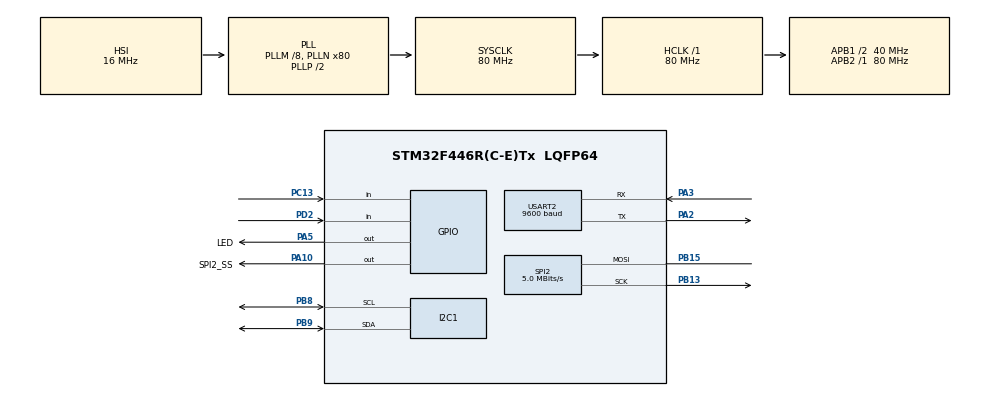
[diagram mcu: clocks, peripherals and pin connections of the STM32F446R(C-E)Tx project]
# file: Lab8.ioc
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Dma.I2C1_RX.1.Direction=DMA_PERIPH_TO_MEMORY
Dma.I2C1_RX.1.FIFOMode=DMA_FIFOMODE_DISABLE
Dma.I2C1_RX.1.Instance=DMA1_Stream0
Dma.I2C1_RX.1.MemDataAlignment=DMA_MDATAALIGN_BYTE
Dma.I2C1_RX.1.MemInc=DMA_MINC_ENABLE
Dma.I2C1_RX.1.Mode=DMA_NORMAL
Dma.I2C1_RX.1.PeriphDataAlignment=DMA_PDATAALIGN_BYTE
Dma.I2C1_RX.1.PeriphInc=DMA_PINC_DISABLE
Dma.I2C1_RX.1.Priority=DMA_PRIORITY_LOW
Dma.I2C1_TX.2.Direction=DMA_MEMORY_TO_PERIPH
Dma.I2C1_TX.2.FIFOMode=DMA_FIFOMODE_DISABLE
Dma.I2C1_TX.2.Instance=DMA1_Stream6
Dma.I2C1_TX.2.MemDataAlignment=DMA_MDATAALIGN_BYTE
Dma.I2C1_TX.2.MemInc=DMA_MINC_ENABLE
Dma.I2C1_TX.2.Mode=DMA_NORMAL
Dma.I2C1_TX.2.PeriphDataAlignment=DMA_PDATAALIGN_BYTE
Dma.I2C1_TX.2.PeriphInc=DMA_PINC_DISABLE
Dma.I2C1_TX.2.Priority=DMA_PRIORITY_LOW
Dma.Request0=SPI2_TX
Dma.Request1=I2C1_RX
Dma.Request2=I2C1_TX
Dma.SPI2_TX.0.Direction=DMA_MEMORY_TO_PERIPH
Dma.SPI2_TX.0.FIFOMode=DMA_FIFOMODE_DISABLE
Dma.SPI2_TX.0.Instance=DMA1_Stream4
Dma.SPI2_TX.0.MemDataAlignment=DMA_MDATAALIGN_BYTE
Dma.SPI2_TX.0.MemInc=DMA_MINC_ENABLE
Dma.SPI2_TX.0.Mode=DMA_NORMAL
Dma.SPI2_TX.0.PeriphDataAlignment=DMA_PDATAALIGN_BYTE
Dma.SPI2_TX.0.PeriphInc=DMA_PINC_DISABLE
Dma.SPI2_TX.0.Priority=DMA_PRIORITY_LOW
Mcu.Family=STM32F4
Mcu.Name=STM32F446R(C-E)Tx
Mcu.Package=LQFP64
NVIC.DMA1_Stream0_IRQn=true\:0\:0\:false\:false\:true\:false\:true\:true
NVIC.DMA1_Stream4_IRQn=true\:0\:0\:false\:false\:true\:false\:true\:true
NVIC.DMA1_Stream6_IRQn=true\:0\:0\:false\:false\:true\:false\:true\:true
NVIC.I2C1_EV_IRQn=true\:0\:0\:false\:false\:true\:true\:true\:true
NVIC.PriorityGroup=NVIC_PRIORITYGROUP_4
NVIC.SPI2_IRQn=true\:0\:0\:false\:false\:true\:true\:true\:true
NVIC.TIM1_UP_TIM10_IRQn=true\:0\:0\:false\:false\:true\:true\:true\:true
NVIC.USART2_IRQn=true\:0\:0\:false\:false\:true\:true\:true\:true
PA10.GPIO_Label=SPI2_SS
PA10.Signal=GPIO_Output
PA2.Mode=Asynchronous
PA2.Signal=USART2_TX
PA3.Mode=Asynchronous
PA3.Signal=USART2_RX
PA5.GPIO_Label=LED
PA5.Signal=GPIO_Output
PB13.Mode=Simplex_Bidirectional_Master
PB13.Signal=SPI2_SCK
PB15.Mode=Simplex_Bidirectional_Master
PB15.Signal=SPI2_MOSI
PB8.Mode=I2C
PB8.Signal=I2C1_SCL
PB9.Mode=I2C
PB9.Signal=I2C1_SDA
PC13.Signal=GPIO_Input
PD2.Signal=GPIO_Input
ProjectManager.HeapSize=0x200
ProjectManager.StackSize=0x400
ProjectManager.TargetToolchain=STM32CubeIDE
RCC.AHBFreq_Value=80000000
RCC.APB1CLKDivider=RCC_HCLK_DIV2
RCC.APB1Freq_Value=40000000
RCC.APB1TimFreq_Value=80000000
RCC.APB2Freq_Value=80000000
RCC.APB2TimFreq_Value=80000000
RCC.CortexFreq_Value=80000000
RCC.HCLKFreq_Value=80000000
RCC.PLLM=8
RCC.PLLN=80
RCC.SYSCLKFreq_VALUE=80000000
RCC.SYSCLKSource=RCC_SYSCLKSOURCE_PLLCLK
RCC.USBFreq_Value=80000000
RCC.VCOOutputFreq_Value=160000000
SPI2.BaudRatePrescaler=SPI_BAUDRATEPRESCALER_8
SPI2.CalculateBaudRate=5.0 MBits/s
SPI2.Direction=SPI_DIRECTION_1LINE
SPI2.FirstBit=SPI_FIRSTBIT_MSB
SPI2.Mode=SPI_MODE_MASTER
SPI2.VirtualType=VM_MASTER
TIM10.Period=999
TIM10.Prescaler=79
USART2.BaudRate=9600
USART2.VirtualMode=VM_ASYNC
VP_TIM10_VS_ClockSourceINT.Mode=Enable_Timer
board=custom

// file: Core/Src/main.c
/* USER CODE BEGIN Header */
/* USER CODE END Header */
#include "main.h"

/* USER CODE BEGIN PM */
#define NUM_INDICATORS 8

// 7 seg display digits
//                GFEDCBA
#define DIGIT_N 0b0000000 // 0
#define DIGIT_0 0b0111111 // 63
#define DIGIT_1 0b0000110 // 6
#define DIGIT_2 0b1011011 // 91
#define DIGIT_3 0b1001111 // 79
#define DIGIT_4 0b1100110 // 102
#define DIGIT_5 0b1101101 // 109
#define DIGIT_6 0b1111101 // 125
#define DIGIT_7 0b0000111 // 7
#define DIGIT_8 0b1111111 // 127
#define DIGIT_9 0b1101111 // 111
#define DOT 0b10000000 // 128

#define DS3231_ADDR 0x68
enum DS3231_REG{
  SECONDS = 0x00,
  MINUTES = 0x01,
  HOURS = 0x02,
  DAY = 0x03,
  DATE = 0x04,
  MONTH = 0x05,
  YEAR = 0x06,
};

struct time_t {
  uint8_t seconds;
  uint8_t minutes;
  uint8_t hours;
  uint8_t day;
  uint8_t date;
  uint8_t month;
  uint8_t year;
};

struct time_t get_time;
struct time_t decoded_time;

struct time_t set_time;

uint8_t digits[] = {DIGIT_0, DIGIT_1, DIGIT_2, DIGIT_3, DIGIT_4, DIGIT_5, DIGIT_6, DIGIT_7, DIGIT_8, DIGIT_9};

/* USER CODE END PM */

I2C_HandleTypeDef hi2c1;
DMA_HandleTypeDef hdma_i2c1_rx;
DMA_HandleTypeDef hdma_i2c1_tx;

SPI_HandleTypeDef hspi2;
DMA_HandleTypeDef hdma_spi2_tx;

TIM_HandleTypeDef htim10;

UART_HandleTypeDef huart2;

/* USER CODE BEGIN PV */
uint32_t timer;

// uint32_t display_number = 0;
uint8_t display_buffer[NUM_INDICATORS] = {0};
uint8_t current_digit = 0;

uint8_t send_buffer[2] = {0};

char read_buffer[NUM_INDICATORS + 3];
uint8_t read_index = 0;
uint8_t display_flag = 0;
/* USER CODE END PV */

void SystemClock_Config(void);
static void MX_GPIO_Init(void);
static void MX_DMA_Init(void);
static void MX_SPI2_Init(void);
static void MX_TIM10_Init(void);
static void MX_USART2_UART_Init(void);
static void MX_I2C1_Init(void);

int main(void)
{

  /* MCU Configuration--------------------------------------------------------*/

  /* Reset of all peripherals, Initializes the Flash interface and the Systick. */
  HAL_Init();

  /* Configure the system clock */
  SystemClock_Config();

  /* Initialize all configured peripherals */
  MX_GPIO_Init();
  MX_DMA_Init();
  MX_SPI2_Init();
  MX_TIM10_Init();
  MX_USART2_UART_Init();
  MX_I2C1_Init();
  /* USER CODE BEGIN 2 */
  HAL_TIM_Base_Start_IT(&htim10);

  HAL_UART_Receive_IT(&huart2, (uint8_t *)&read_buffer[read_index++], 1);

  /* USER CODE END 2 */

  /* Infinite loop */
  /* USER CODE BEGIN WHILE */
  while(1) {
    // char buffer[100];
    // sprintf(buffer, "date: %02d.%02d.%02d, time: %02d:%02d:%02d\n", decoded_time.date, decoded_time.month, decoded_time.year, decoded_time.hours, decoded_time.minutes, decoded_time.seconds);
    // HAL_UART_Transmit_IT(&huart2, (uint8_t *)buffer, strlen(buffer));

    // HAL_Delay(1000);

    if(HAL_GPIO_ReadPin(GPIOC, GPIO_PIN_13) == GPIO_PIN_RESET){
      display_flag = 0;
    }
    if (HAL_GPIO_ReadPin(GPIOD, GPIO_PIN_2) == GPIO_PIN_RESET){
      display_flag = 1;
    }
    /* USER CODE END WHILE */

}
}

void SystemClock_Config(void)
{
  RCC_OscInitTypeDef RCC_OscInitStruct = {0};
  RCC_ClkInitTypeDef RCC_ClkInitStruct = {0};

  /** Configure the main internal regulator output voltage
  */
  __HAL_RCC_PWR_CLK_ENABLE();
  __HAL_PWR_VOLTAGESCALING_CONFIG(PWR_REGULATOR_VOLTAGE_SCALE3);

  /** Initializes the RCC Oscillators according to the specified parameters
  * in the RCC_OscInitTypeDef structure.
  */
  RCC_OscInitStruct.OscillatorType = RCC_OSCILLATORTYPE_HSI;
  RCC_OscInitStruct.HSIState = RCC_HSI_ON;
  RCC_OscInitStruct.HSICalibrationValue = RCC_HSICALIBRATION_DEFAULT;
  RCC_OscInitStruct.PLL.PLLState = RCC_PLL_ON;
  RCC_OscInitStruct.PLL.PLLSource = RCC_PLLSOURCE_HSI;
  RCC_OscInitStruct.PLL.PLLM = 8;
  RCC_OscInitStruct.PLL.PLLN = 80;
  RCC_OscInitStruct.PLL.PLLP = RCC_PLLP_DIV2;
  RCC_OscInitStruct.PLL.PLLQ = 2;
  RCC_OscInitStruct.PLL.PLLR = 2;
  if (HAL_RCC_OscConfig(&RCC_OscInitStruct) != HAL_OK)
  {
    Error_Handler();
  }

  /** Initializes the CPU, AHB and APB buses clocks
  */
  RCC_ClkInitStruct.ClockType = RCC_CLOCKTYPE_HCLK|RCC_CLOCKTYPE_SYSCLK
                              |RCC_CLOCKTYPE_PCLK1|RCC_CLOCKTYPE_PCLK2;
  RCC_ClkInitStruct.SYSCLKSource = RCC_SYSCLKSOURCE_PLLCLK;
  RCC_ClkInitStruct.AHBCLKDivider = RCC_SYSCLK_DIV1;
  RCC_ClkInitStruct.APB1CLKDivider = RCC_HCLK_DIV2;
  RCC_ClkInitStruct.APB2CLKDivider = RCC_HCLK_DIV1;

  if (HAL_RCC_ClockConfig(&RCC_ClkInitStruct, FLASH_LATENCY_2) != HAL_OK)
  {
    Error_Handler();
  }
}

static void MX_I2C1_Init(void)
{

  hi2c1.Instance = I2C1;
  hi2c1.Init.ClockSpeed = 100000;
  hi2c1.Init.DutyCycle = I2C_DUTYCYCLE_2;
  hi2c1.Init.OwnAddress1 = 0;
  hi2c1.Init.AddressingMode = I2C_ADDRESSINGMODE_7BIT;
  hi2c1.Init.DualAddressMode = I2C_DUALADDRESS_DISABLE;
  hi2c1.Init.OwnAddress2 = 0;
  hi2c1.Init.GeneralCallMode = I2C_GENERALCALL_DISABLE;
  hi2c1.Init.NoStretchMode = I2C_NOSTRETCH_DISABLE;
  if (HAL_I2C_Init(&hi2c1) != HAL_OK)
  {
    Error_Handler();
  }

}

static void MX_SPI2_Init(void)
{

  /* SPI2 parameter configuration*/
  hspi2.Instance = SPI2;
  hspi2.Init.Mode = SPI_MODE_MASTER;
  hspi2.Init.Direction = SPI_DIRECTION_1LINE;
  hspi2.Init.DataSize = SPI_DATASIZE_8BIT;
  hspi2.Init.CLKPolarity = SPI_POLARITY_LOW;
  hspi2.Init.CLKPhase = SPI_PHASE_1EDGE;
  hspi2.Init.NSS = SPI_NSS_SOFT;
  hspi2.Init.BaudRatePrescaler = SPI_BAUDRATEPRESCALER_8;
  hspi2.Init.FirstBit = SPI_FIRSTBIT_MSB;
  hspi2.Init.TIMode = SPI_TIMODE_DISABLE;
  hspi2.Init.CRCCalculation = SPI_CRCCALCULATION_DISABLE;
  hspi2.Init.CRCPolynomial = 10;
  if (HAL_SPI_Init(&hspi2) != HAL_OK)
  {
    Error_Handler();
  }

}

static void MX_TIM10_Init(void)
{

  htim10.Instance = TIM10;
  htim10.Init.Prescaler = 79;
  htim10.Init.CounterMode = TIM_COUNTERMODE_UP;
  htim10.Init.Period = 999;
  htim10.Init.ClockDivision = TIM_CLOCKDIVISION_DIV1;
  htim10.Init.AutoReloadPreload = TIM_AUTORELOAD_PRELOAD_DISABLE;
  if (HAL_TIM_Base_Init(&htim10) != HAL_OK)
  {
    Error_Handler();
  }

}

static void MX_USART2_UART_Init(void)
{

  huart2.Instance = USART2;
  huart2.Init.BaudRate = 9600;
  huart2.Init.WordLength = UART_WORDLENGTH_8B;
  huart2.Init.StopBits = UART_STOPBITS_1;
  huart2.Init.Parity = UART_PARITY_NONE;
  huart2.Init.Mode = UART_MODE_TX_RX;
  huart2.Init.HwFlowCtl = UART_HWCONTROL_NONE;
  huart2.Init.OverSampling = UART_OVERSAMPLING_16;
  if (HAL_UART_Init(&huart2) != HAL_OK)
  {
    Error_Handler();
  }

}

static void MX_DMA_Init(void)
{

  /* DMA controller clock enable */
  __HAL_RCC_DMA1_CLK_ENABLE();

  /* DMA interrupt init */
  /* DMA1_Stream0_IRQn interrupt configuration */
  HAL_NVIC_SetPriority(DMA1_Stream0_IRQn, 0, 0);
  HAL_NVIC_EnableIRQ(DMA1_Stream0_IRQn);
  /* DMA1_Stream4_IRQn interrupt configuration */
  HAL_NVIC_SetPriority(DMA1_Stream4_IRQn, 0, 0);
  HAL_NVIC_EnableIRQ(DMA1_Stream4_IRQn);
  /* DMA1_Stream6_IRQn interrupt configuration */
  HAL_NVIC_SetPriority(DMA1_Stream6_IRQn, 0, 0);
  HAL_NVIC_EnableIRQ(DMA1_Stream6_IRQn);

}

static void MX_GPIO_Init(void)
{
  GPIO_InitTypeDef GPIO_InitStruct = {0};

  /* GPIO Ports Clock Enable */
  __HAL_RCC_GPIOC_CLK_ENABLE();
  __HAL_RCC_GPIOA_CLK_ENABLE();
  __HAL_RCC_GPIOB_CLK_ENABLE();
  __HAL_RCC_GPIOD_CLK_ENABLE();

  /*Configure GPIO pin Output Level */
  HAL_GPIO_WritePin(GPIOA, LED_Pin|SPI2_SS_Pin, GPIO_PIN_RESET);

  /*Configure GPIO pin : PC13 */
  GPIO_InitStruct.Pin = GPIO_PIN_13;
  GPIO_InitStruct.Mode = GPIO_MODE_INPUT;
  GPIO_InitStruct.Pull = GPIO_NOPULL;
  HAL_GPIO_Init(GPIOC, &GPIO_InitStruct);

  /*Configure GPIO pins : LED_Pin SPI2_SS_Pin */
  GPIO_InitStruct.Pin = LED_Pin|SPI2_SS_Pin;
  GPIO_InitStruct.Mode = GPIO_MODE_OUTPUT_PP;
  GPIO_InitStruct.Pull = GPIO_NOPULL;
  GPIO_InitStruct.Speed = GPIO_SPEED_FREQ_LOW;
  HAL_GPIO_Init(GPIOA, &GPIO_InitStruct);

  /*Configure GPIO pin : PD2 */
  GPIO_InitStruct.Pin = GPIO_PIN_2;
  GPIO_InitStruct.Mode = GPIO_MODE_INPUT;
  GPIO_InitStruct.Pull = GPIO_NOPULL;
  HAL_GPIO_Init(GPIOD, &GPIO_InitStruct);

}

/* USER CODE BEGIN 4 */

// timer 10 interrupt handler
void HAL_TIM_PeriodElapsedCallback(TIM_HandleTypeDef *htim)
{
  if (htim->Instance == TIM10)
  {
    timer++;
    if(timer % 100 == 0){
      read_time();
    }

    // update display
    HAL_GPIO_WritePin(SPI2_SS_GPIO_Port, SPI2_SS_Pin, GPIO_PIN_RESET);
    uint8_t data = display_buffer[current_digit];
    uint8_t digit = ~(1 << current_digit);
    send_buffer[0] = data;
    send_buffer[1] = digit;
    HAL_SPI_Transmit_DMA(&hspi2, send_buffer, 2);
    current_digit = (current_digit + 1) % NUM_INDICATORS;
  }
}

void read_time(void){
    HAL_I2C_Mem_Read_DMA(&hi2c1, DS3231_ADDR << 1, SECONDS, 1, &get_time, sizeof(struct time_t));
}

// i2c 1 interrupt handler
void HAL_I2C_MemRxCpltCallback(I2C_HandleTypeDef *hi2c){
  if (hi2c->Instance == I2C1){
    decode_time(&decoded_time, &get_time);
    display(&decoded_time);
  }
}

// spi 2 interrupt handler
void HAL_SPI_TxCpltCallback(SPI_HandleTypeDef *hspi)
{
  HAL_GPIO_WritePin(SPI2_SS_GPIO_Port, SPI2_SS_Pin, GPIO_PIN_SET);
}

// uart 2 interrupt handler
void HAL_UART_RxCpltCallback(UART_HandleTypeDef *huart)
{
  if (huart->Instance == USART2)
  {
    if(read_buffer[read_index - 1] == '\n' || read_buffer[read_index - 1] == '\r') {
      read_buffer[read_index - 1] = '\0';

    process_command(read_buffer);
    read_index = 0;
    }
    HAL_UART_Receive_IT(&huart2, (uint8_t *)&read_buffer[read_index++], 1);
  }
}

uint8_t addr;
char buffer[100];
uint8_t arg;

void process_command(char *command){
  arg = atoi(&command[1]);
  switch (command[0]){
  case 'h':
    // set hours
    if(arg > 23 || arg < 0){
      return;
    }
    addr = HOURS;
    sprintf(buffer, "set hours: %d\n", arg);
    break;
  case 'm':
    // set minutes
    if(arg > 59 || arg < 0){
      return;
    }
    addr = MINUTES;
    sprintf(buffer, "set minutes: %d\n", arg);
    break;
  case 's':
    // set seconds
    if(arg > 59 || arg < 0){
      return;
    }
    addr = SECONDS;
    sprintf(buffer, "set seconds: %d\n", arg);
    break;

  case 'Y':
    // set year
    if(arg > 99 || arg < 0){
      return;
    }
    addr = YEAR;
    sprintf(buffer, "set year: %d\n", arg);
    break;
  case 'M':
    // set month
    if(arg > 12 || arg < 1){
      return;
    }
    addr = MONTH;
    sprintf(buffer, "set month: %d\n", arg);
    break;
  case 'D':
    // set date
    if(arg > 31 || arg < 1){
      return;
    }
    addr = DATE;
    sprintf(buffer, "set date: %d\n", arg);
    break;

  default:
    return;
  }

  arg = ((arg / 10) << 4) | (arg % 10);

  HAL_UART_Transmit_IT(&huart2, (uint8_t *)buffer, strlen(buffer));
  HAL_I2C_Mem_Write_DMA(&hi2c1, DS3231_ADDR << 1, addr, 1, &arg, 1);
}

void display(struct time_t *decoded_time){
  char dig[NUM_INDICATORS + 1];

  if(display_flag){
    sprintf(dig, "%02d%02d%02d", decoded_time->hours, decoded_time->minutes, decoded_time->seconds);
  } else {
    sprintf(dig, "%02d%02d%02d", decoded_time->date, decoded_time->month, decoded_time->year);
  }

  uint8_t num_digits = strlen(dig);
  for(int i = 0; i < NUM_INDICATORS; i++){
    if(i < num_digits){
      display_buffer[i] = digits[dig[i] - '0'] | (i % 2 == 1 ? (1 << 7) : 0);
    } else {
      display_buffer[i] = DIGIT_N;
    }
  }

  // char buffer[100];
  // sprintf(buffer, "display: %d %d %d %d %d %d %d %d\n", display_buffer[0], display_buffer[1], display_buffer[2], display_buffer[3], display_buffer[4], display_buffer[5], display_buffer[6], display_buffer[7]);
  // HAL_UART_Transmit_IT(&huart2, (uint8_t *)buffer, strlen(buffer));
}

void decode_time(struct time_t *decoded_time, struct time_t *get_time)
{
  decoded_time->seconds = ((get_time->seconds & 0xF0 )>> 4) * 10 + (get_time->seconds & 0x0F);
  decoded_time->minutes = ((get_time->minutes & 0xF0 )>> 4) * 10 + (get_time->minutes & 0x0F);
  decoded_time->hours = ((get_time->hours & 0xF0 )>> 4) * 10 + (get_time->hours & 0x0F);

  decoded_time->date = ((get_time->date & 0xF0 )>> 4) * 10 + (get_time->date & 0x0F);
  decoded_time->month = ((get_time->month & 0x70 )>> 4) * 10 + (get_time->month & 0x0F);
  decoded_time->year = ((get_time->year & 0xF0 )>> 4) * 10 + (get_time->year & 0x0F);
}

/* USER CODE END 4 */

void Error_Handler(void)
{
}
